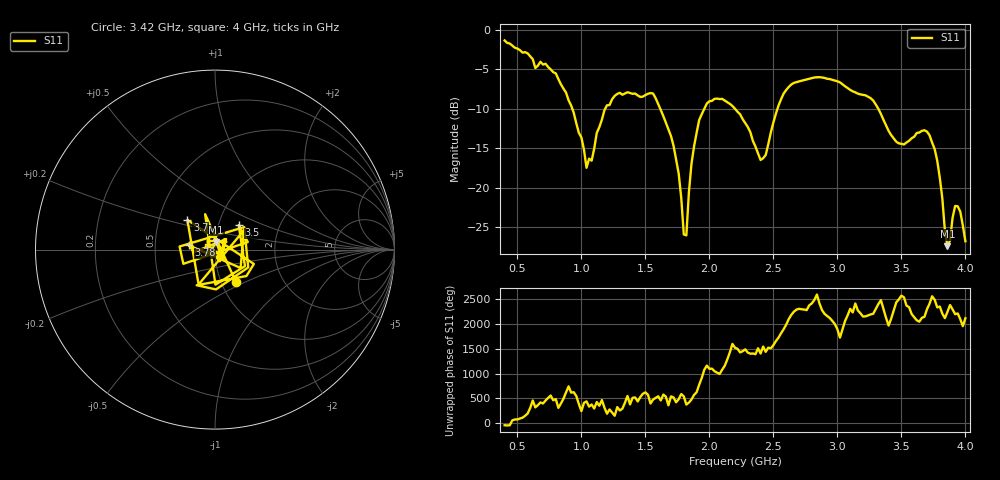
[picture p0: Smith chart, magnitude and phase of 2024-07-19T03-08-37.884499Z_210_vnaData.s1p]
!Created with skrf (http://scikit-rf.org).
# Hz S RI R 50.0
!freq ReS11 ImS11
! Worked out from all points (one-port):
!   181 points, 400 MHz to 4 GHz, reference 50 ohm
!   lowest |S11| = -27.4 dB at 3.86 GHz (marker M1), VSWR 1.09, Z = 50.4 + j4.27 ohm
!   |S11| at or under -10 dB: 1.616 GHz to 1.961 GHz (345.4 MHz wide, 19.3 % of centre); 2.199 GHz to 2.532 GHz (332.6 MHz wide, 14.1 % of centre); 3.319 GHz to end of sweep (the widest 3 of 4)
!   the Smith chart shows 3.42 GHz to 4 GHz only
!   S11 on the Smith chart (normalised r, x): 3.42 GHz: 1.17, -0.44; 3.5 GHz: 1.25, +0.35; 3.7 GHz: 0.70, +0.24; 3.78 GHz: 0.74, +0.04; 4 GHz: 1.06, -0.07
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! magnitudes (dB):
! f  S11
! 400 MHz  -1.4
! 860 MHz  -7.5
! 1 GHz  -13.6
! 1.04 GHz  -17.5
! 1.18 GHz  -10.2
! 1.3 GHz  -8.0
! 1.56 GHz  -8.1
! 1.7 GHz  -13.5
! 1.76 GHz  -18.2
! 1.8 GHz  -25.9
! 1.82 GHz  -26.0
! 1.86 GHz  -17.0
! 1.92 GHz  -11.4
! 2.04 GHz  -8.8
! 2.2 GHz  -10.0
! 2.4 GHz  -16.5
! 2.56 GHz  -8.8
! 2.66 GHz  -6.7
! 3.1 GHz  -7.6
! 3.28 GHz  -9.0
! 3.42 GHz  -13.3
! 3.5 GHz  -14.4
! 3.56 GHz  -14.1
! 3.7 GHz  -12.9
! 3.78 GHz  -16.6
! 3.86 GHz  -27.4
! 3.92 GHz  -22.3
! 4 GHz  -26.8
